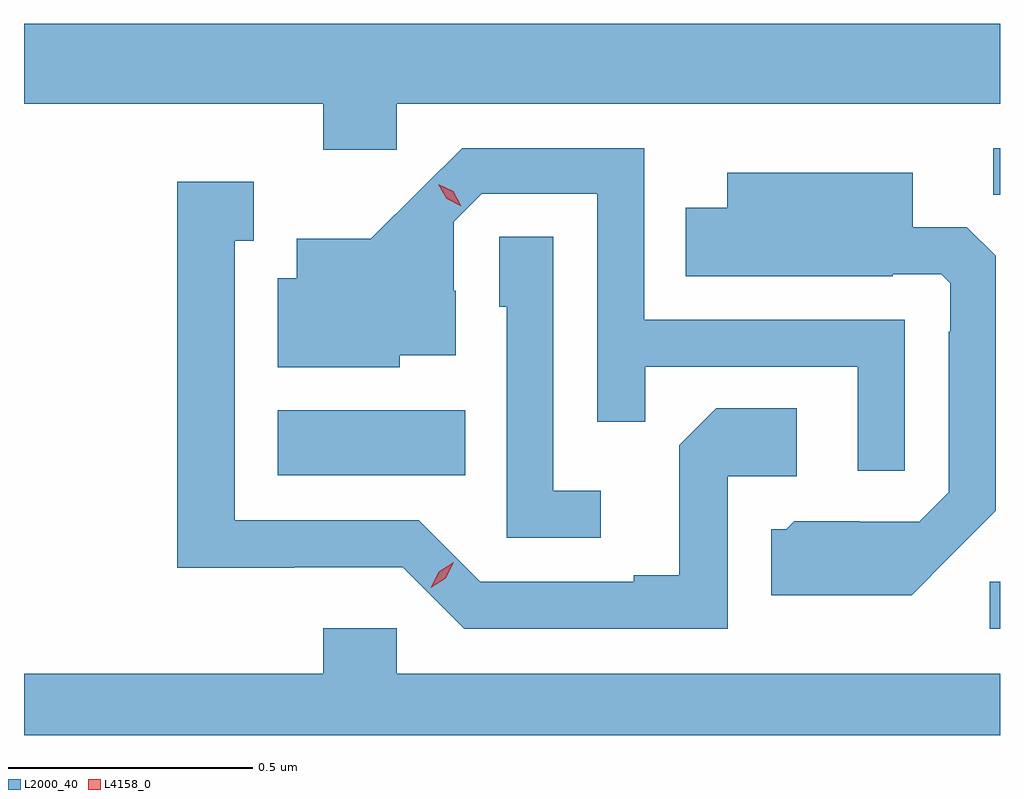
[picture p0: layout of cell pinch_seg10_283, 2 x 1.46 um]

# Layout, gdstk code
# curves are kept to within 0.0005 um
import gdstk
lib = gdstk.Library(unit=1e-6, precision=1e-09)
def R(c, l, rs):  # rectangles x0, y0, x1, y1
    for r in rs: c.add(gdstk.rectangle(r[:2], r[2:], *l))
def P(c, l, *ps):  # polygons
    for p in ps: c.add(gdstk.Polygon(p, *l))
L2000_40 = (2000, 40)
L4158_0 = (4158, 0)

pinch_seg10_283 = lib.new_cell('pinch_seg10_283')
R(pinch_seg10_283, L2000_40, [(516.675,1312.56,516.696,1312.656), (515.216,1312.874,515.6,1313.008), (516.682,1313.449,516.696,1313.544)])
P(pinch_seg10_283, L2000_40, [(515.46,1313.636),(516.696,1313.636),(516.696,1313.8),(514.696,1313.8),(514.696,1313.636),(515.309,1313.636),(515.309,1313.541),(515.46,1313.541)],
  [(516.501,1313.193),(515.967,1313.193),(515.967,1313.544),(515.594,1313.544),(515.407,1313.359),(515.255,1313.359),(515.255,1313.278),(515.216,1313.278),(515.216,1313.096),(515.466,1313.096),(515.466,1313.12),(515.581,1313.12),(515.581,1313.252),(515.577,1313.252),(515.577,1313.394),(515.634,1313.451),(515.871,1313.451),(515.871,1312.984),(515.969,1312.984),(515.969,1313.097),(516.405,1313.097),(516.405,1312.884),(516.501,1312.884)],
  [(516.595,1312.709),(516.687,1312.802),(516.687,1313.324),(516.628,1313.383),(516.517,1313.383),(516.517,1313.494),(516.137,1313.494),(516.137,1313.422),(516.052,1313.422),(516.052,1313.282),(516.476,1313.282),(516.476,1313.286),(516.576,1313.286),(516.594,1313.268),(516.594,1313.168),(516.591,1313.168),(516.591,1312.839),(516.531,1312.779),(516.408,1312.779),(516.408,1312.78),(516.274,1312.78),(516.258,1312.764),(516.227,1312.764),(516.227,1312.628),(516.515,1312.628)],
  [(516.138,1312.872),(516.28,1312.872),(516.28,1313.012),(516.115,1313.012),(516.039,1312.936),(516.039,1312.669),(515.945,1312.669),(515.945,1312.656),(515.631,1312.656),(515.505,1312.782),(515.128,1312.782),(515.128,1313.355),(515.167,1313.355),(515.167,1313.476),(515.01,1313.476),(515.01,1312.685),(515.25,1312.685),(515.25,1312.686),(515.472,1312.686),(515.598,1312.56),(516.138,1312.56)],
  [(515.878,1312.843),(515.781,1312.843),(515.781,1313.363),(515.67,1313.363),(515.67,1313.22),(515.685,1313.22),(515.685,1312.746),(515.878,1312.746)],
  [(516.696,1312.468),(515.46,1312.468),(515.46,1312.561),(515.309,1312.561),(515.309,1312.468),(514.696,1312.468),(514.696,1312.341),(516.696,1312.341)])
P(pinch_seg10_283, L4158_0, [(515.592,1313.426),(515.562,1313.441),(515.545,1313.471),(515.545,1313.471),(515.545,1313.471),(515.576,1313.456),(515.592,1313.426),(515.592,1313.426)],
  [(515.529,1312.644),(515.529,1312.644),(515.546,1312.677),(515.577,1312.696),(515.577,1312.696),(515.577,1312.696),(515.56,1312.663),(515.529,1312.644)])

lib.write_gds('pinch_seg10_283.gds')
